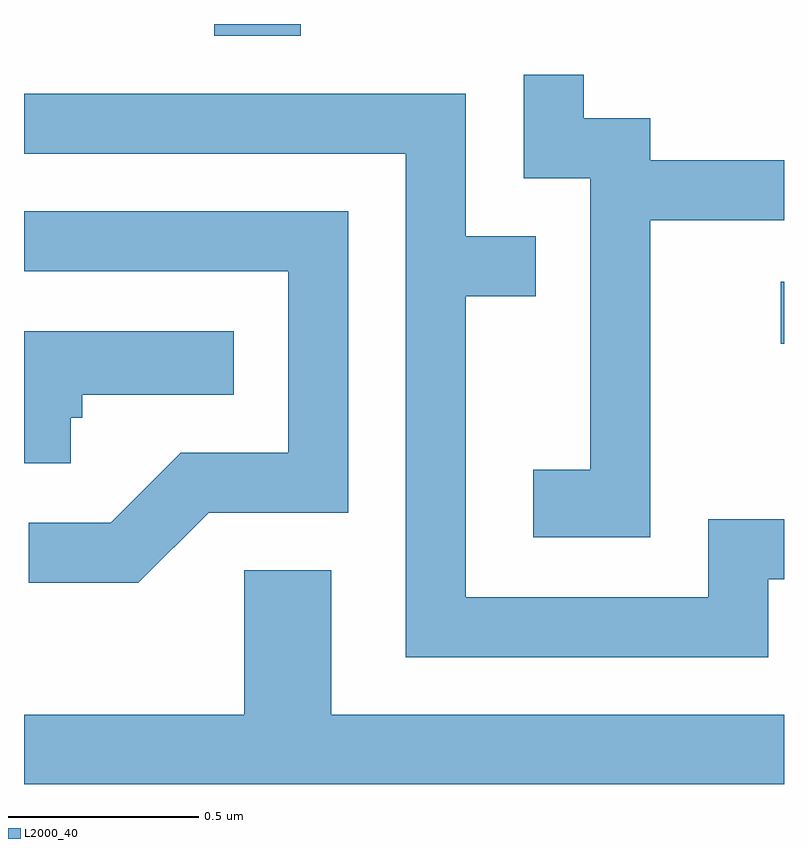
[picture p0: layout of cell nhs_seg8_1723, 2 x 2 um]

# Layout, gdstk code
import gdstk
lib = gdstk.Library(unit=1e-6, precision=1e-09)
def R(c, l, rs):  # rectangles x0, y0, x1, y1
    for r in rs: c.add(gdstk.rectangle(r[:2], r[2:], *l))
def P(c, l, *ps):  # polygons
    for p in ps: c.add(gdstk.Polygon(p, *l))
L2000_40 = (2000, 40)

nhs_seg8_1723 = lib.new_cell('nhs_seg8_1723')
R(nhs_seg8_1723, L2000_40, [(199.603,1886.501,199.611,1886.664), (198.111,1887.311,198.339,1887.342)])
P(nhs_seg8_1723, L2000_40, [(199.259,1886.826),(199.611,1886.826),(199.611,1886.984),(199.259,1886.984),(199.259,1887.094),(199.084,1887.094),(199.084,1887.208),(198.926,1887.208),(198.926,1886.936),(199.101,1886.936),(199.101,1886.169),(198.951,1886.169),(198.951,1885.991),(199.259,1885.991)],
  [(199.569,1885.881),(199.611,1885.881),(199.611,1886.039),(199.411,1886.039),(199.411,1885.834),(198.774,1885.834),(198.774,1886.626),(198.958,1886.626),(198.958,1886.784),(198.774,1886.784),(198.774,1887.159),(197.611,1887.159),(197.611,1887.001),(198.616,1887.001),(198.616,1885.676),(199.569,1885.676)],
  [(198.097,1886.056),(198.464,1886.056),(198.464,1886.849),(197.611,1886.849),(197.611,1886.691),(198.306,1886.691),(198.306,1886.214),(198.024,1886.214),(197.839,1886.029),(197.623,1886.029),(197.623,1885.871),(197.912,1885.871)],
  [(197.734,1886.306),(197.764,1886.306),(197.764,1886.366),(198.163,1886.366),(198.163,1886.534),(197.611,1886.534),(197.611,1886.186),(197.734,1886.186)],
  [(199.611,1885.524),(198.419,1885.524),(198.419,1885.904),(198.191,1885.904),(198.191,1885.524),(197.611,1885.524),(197.611,1885.342),(199.611,1885.342)])

lib.write_gds('nhs_seg8_1723.gds')
